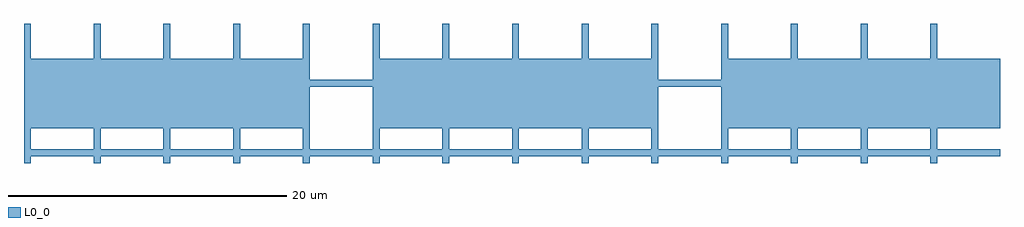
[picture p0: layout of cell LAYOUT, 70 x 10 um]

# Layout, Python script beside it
import gdspy

# Create a new library
lib = gdspy.GdsLibrary()

# Create a new cell
cell = lib.new_cell('LAYOUT')

# 1. Create three active regions
active_width = 20
active_height = 5
active_spacing = 5

for i in range(3):
    x = i * (active_width + active_spacing)
    active = gdspy.Rectangle((x, 0), (x + active_width, active_height))
    cell.add(active)

# 2. Create complex polysilicon gate pattern
gate_width = 0.5
gate_spacing = 4.5  # Adjust this value to create a suitable grid pattern
gate_length = 3 * active_width + 2 * active_spacing

# Vertical lines
for x in range(0, int(gate_length + gate_width), int(gate_width + gate_spacing)):
    gate_v = gdspy.Rectangle((x, -2.5), (x + gate_width, active_height + 2.5))
    cell.add(gate_v)

# Horizontal lines
for y in range(-2, int(active_height + 3), int(gate_width + gate_spacing)):
    gate_h = gdspy.Rectangle((0, y), (gate_length, y + gate_width))
    cell.add(gate_h)

# 3. Add contact holes
contact_size = 1

for i in range(3):
    active_x = i * (active_width + active_spacing)
    for x in range(int(active_x), int(active_x + active_width), int(gate_width + gate_spacing)):
        for y in range(0, int(active_height), int(gate_width + gate_spacing)):
            contact = gdspy.Rectangle((x, y), (x + contact_size, y + contact_size))
            cell.add(contact)

# Save the layout to a GDS file
lib.write_gds('layout.gds')

# Optional: View the layout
